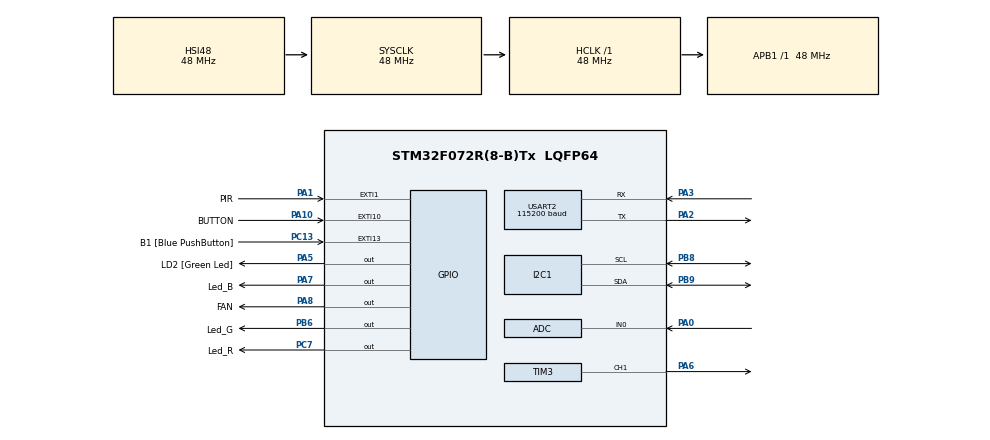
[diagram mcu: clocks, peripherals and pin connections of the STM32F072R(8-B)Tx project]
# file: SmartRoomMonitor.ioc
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ADC.SamplingTime=ADC_SAMPLETIME_239CYCLES_5
FREERTOS.Tasks01=BlinkTask,8,128,StartBlinkTask,Default,NULL,Dynamic,NULL,NULL;SensorTask,24,384,StartSensorTask,Default,NULL,Dynamic,NULL,NULL;AlertTask,24,128,StartAlertTask,Default,NULL,Dynamic,NULL,NULL;DisplayTask,16,512,StartDisplayTask,Default,NULL,Dynamic,NULL,NULL;MotionTask,32,256,StartMotionTask,Default,NULL,Dynamic,NULL,NULL
FREERTOS.configCHECK_FOR_STACK_OVERFLOW=2
FREERTOS.configTIMER_TASK_STACK_DEPTH=128
FREERTOS.configTOTAL_HEAP_SIZE=6144
FREERTOS.configUSE_NEWLIB_REENTRANT=1
I2C1.Timing=0x00201D2B
Mcu.Family=STM32F0
Mcu.Name=STM32F072R(8-B)Tx
Mcu.Package=LQFP64
NVIC.EXTI0_1_IRQn=true\:3\:0\:false\:false\:true\:true\:true\:true\:true
NVIC.EXTI4_15_IRQn=true\:3\:0\:false\:false\:true\:true\:true\:true\:true
NVIC.TIM6_DAC_IRQn=true\:3\:0\:false\:false\:true\:false\:false\:true\:true
NVIC.TimeBase=TIM6_DAC_IRQn
NVIC.TimeBaseIP=TIM6
PA0.Mode=IN0
PA0.Signal=ADC_IN0
PA1.GPIO_Label=PIR
PA1.GPIO_PuPd=GPIO_PULLDOWN
PA1.Signal=GPXTI1
PA10.GPIO_Label=BUTTON
PA10.GPIO_ModeDefaultEXTI=GPIO_MODE_IT_FALLING
PA10.GPIO_PuPd=GPIO_PULLUP
PA10.Signal=GPXTI10
PA13.GPIO_Label=TMS
PA13.Mode=Serial_Wire
PA13.Signal=SYS_SWDIO
PA14.GPIO_Label=TCK
PA14.Mode=Serial_Wire
PA14.Signal=SYS_SWCLK
PA2.Mode=Asynchronous
PA2.Signal=USART2_TX
PA3.Mode=Asynchronous
PA3.Signal=USART2_RX
PA5.GPIO_Label=LD2 [Green Led]
PA5.GPIO_Mode=GPIO_MODE_OUTPUT_PP
PA5.GPIO_PuPd=GPIO_NOPULL
PA5.GPIO_Speed=GPIO_SPEED_FREQ_LOW
PA5.Signal=GPIO_Output
PA6.Signal=S_TIM3_CH1
PA7.GPIO_Label=Led_B
PA7.Signal=GPIO_Output
PA8.GPIO_Label=FAN
PA8.Signal=GPIO_Output
PB6.GPIO_Label=Led_G
PB6.Signal=GPIO_Output
PB8.Mode=I2C
PB8.Signal=I2C1_SCL
PB9.Mode=I2C
PB9.Signal=I2C1_SDA
PC13.GPIO_Label=B1 [Blue PushButton]
PC13.GPIO_ModeDefaultEXTI=GPIO_MODE_IT_FALLING
PC13.Signal=GPXTI13
PC14-OSC32_IN.Mode=LSE-External-Oscillator
PC14-OSC32_IN.Signal=RCC_OSC32_IN
PC15-OSC32_OUT.Mode=LSE-External-Oscillator
PC15-OSC32_OUT.Signal=RCC_OSC32_OUT
PC7.GPIO_Label=Led_R
PC7.Signal=GPIO_Output
PF0-OSC_IN.Mode=HSE-External-Clock-Source
PF0-OSC_IN.Signal=RCC_OSC_IN
PF1-OSC_OUT.Signal=RCC_OSC_OUT
ProjectManager.HeapSize=0x200
ProjectManager.StackSize=0x400
ProjectManager.TargetToolchain=STM32CubeIDE
RCC.AHBFreq_Value=48000000
RCC.APB1Freq_Value=48000000
RCC.APB1TimFreq_Value=48000000
RCC.FLatency-AdvancedSettings=FLASH_LATENCY_1
RCC.HCLKFreq_Value=48000000
RCC.PLLDivider=RCC_PREDIV_DIV2
RCC.PLLMUL=RCC_PLL_MUL12
RCC.PREFETCH_ENABLE-AdvancedSettings=1
RCC.SYSCLKFreq_VALUE=48000000
RCC.SYSCLKSource=RCC_SYSCLKSOURCE_HSI48
SH.S_TIM3_CH1.0=TIM3_CH1,PWM Generation1 CH1
TIM3.Channel-PWM\ Generation1\ CH1=TIM_CHANNEL_1
TIM3.Period=499
TIM3.Prescaler=47
TIM3.Pulse-PWM\ Generation1\ CH1=250
USART2.BaudRate=115200
USART2.VirtualMode-Asynchronous=VM_ASYNC
VP_FREERTOS_VS_CMSIS_V2.Mode=CMSIS_V2
VP_SYS_VS_tim6.Mode=TIM6
board=NUCLEO-F072RB

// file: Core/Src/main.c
/* USER CODE BEGIN Header */
/**
  ******************************************************************************
  * @file           : main.c
  * @brief          : Main program body
  ******************************************************************************
  * @attention
  *
  * Copyright (c) 2026 STMicroelectronics.
  * All rights reserved.
  *
  * This software is licensed under terms that can be found in the LICENSE file
  * in the root directory of this software component.
  * If no LICENSE file comes with this software, it is provided AS-IS.
  *
  ******************************************************************************
  */
/* USER CODE END Header */
#include "main.h"
#include "cmsis_os.h"

/* USER CODE BEGIN Includes */

#include <stdio.h>
#include "bme280.h"
#include "ssd1306.h"
#include "ssd1306_fonts.h"
#include "piezo_buzzer.h"
#include "pir.h"

/* USER CODE END Includes */

/* USER CODE BEGIN PTD */

typedef enum
{
  STATE_NORMAL = 0,
  STATE_WARNING,
  STATE_ALERT,
  STATE_SLEEP
} SystemState_t;

typedef struct
{
  int32_t  temperature;  /* 0.01 degC */
  uint32_t humidity;     /* 1/1024 %RH */
  uint16_t lux;
  uint16_t airRaw;       /* MQ-135, 0-4095 */
  uint8_t  bmeOk;
  uint8_t  lightOk;
  uint8_t  motion;       /* 1 = PIR currently detects motion */
  uint8_t  state;        /* SystemState_t at the time of this reading */
} SensorData_t;

/* USER CODE END PTD */

/* USER CODE BEGIN PD */

#define TEMP_ALERT_CENTI   2800   /* 28.00 C */
#define AIR_ALERT_RAW      2000   /* 2000 Pa */
#define TEMP_WARN_CENTI    2600   /* 26.00 C */
#define AIR_WARN_RAW       1500   /* MQ-135 ADC value, tune after testing */
#define AIR_ALERT_RAW      2000
#define SLEEP_TIMEOUT_MS   (5 * 60 * 1000)
#define BUTTON_DEBOUNCE_MS 200
#define NUM_SCREENS        2

#define LED_ON   GPIO_PIN_RESET
#define LED_OFF  GPIO_PIN_SET

/* USER CODE END PD */

ADC_HandleTypeDef hadc;

I2C_HandleTypeDef hi2c1;

TIM_HandleTypeDef htim3;

UART_HandleTypeDef huart2;

/* Definitions for BlinkTask */
osThreadId_t BlinkTaskHandle;
const osThreadAttr_t BlinkTask_attributes = {
  .name = "BlinkTask",
  .stack_size = 128 * 4,
  .priority = (osPriority_t) osPriorityLow,
};
/* Definitions for SensorTask */
osThreadId_t SensorTaskHandle;
const osThreadAttr_t SensorTask_attributes = {
  .name = "SensorTask",
  .stack_size = 384 * 4,
  .priority = (osPriority_t) osPriorityNormal,
};
/* Definitions for AlertTask */
osThreadId_t AlertTaskHandle;
const osThreadAttr_t AlertTask_attributes = {
  .name = "AlertTask",
  .stack_size = 128 * 4,
  .priority = (osPriority_t) osPriorityNormal,
};
/* Definitions for DisplayTask */
osThreadId_t DisplayTaskHandle;
const osThreadAttr_t DisplayTask_attributes = {
  .name = "DisplayTask",
  .stack_size = 512 * 4,
  .priority = (osPriority_t) osPriorityBelowNormal,
};
/* Definitions for MotionTask */
osThreadId_t MotionTaskHandle;
const osThreadAttr_t MotionTask_attributes = {
  .name = "MotionTask",
  .stack_size = 256 * 4,
  .priority = (osPriority_t) osPriorityAboveNormal,
};
/* USER CODE BEGIN PV */

osMutexId_t i2cMutex;
osMessageQueueId_t sensorQueue;
osSemaphoreId_t alertSem;
osSemaphoreId_t motionSem;
volatile uint32_t lastMotionTick = 0;
volatile SystemState_t sysState = STATE_NORMAL;
volatile uint8_t screenIndex = 0;
volatile uint8_t alarmSilenced = 0;

/* USER CODE END PV */

void SystemClock_Config(void);
static void MX_GPIO_Init(void);
static void MX_USART2_UART_Init(void);
static void MX_I2C1_Init(void);
static void MX_TIM3_Init(void);
static void MX_ADC_Init(void);
void StartBlinkTask(void *argument);
void StartSensorTask(void *argument);
void StartAlertTask(void *argument);
void StartDisplayTask(void *argument);
void StartMotionTask(void *argument);

/* USER CODE BEGIN 0 */

int __io_putchar(int ch)
{
    HAL_UART_Transmit(&huart2, (uint8_t *)&ch, 1, HAL_MAX_DELAY);
    return ch;
}

static uint8_t bme_addr = BME280_I2C_ADDR_PRIM;   /* 0x76 */

BME280_INTF_RET_TYPE bme_i2c_read(uint8_t reg, uint8_t *data,
                                  uint32_t len, void *intf_ptr)
{
  uint8_t addr = *(uint8_t *)intf_ptr;
  if (HAL_I2C_Mem_Read(&hi2c1, addr << 1, reg, I2C_MEMADD_SIZE_8BIT,
                       data, (uint16_t)len, 100) == HAL_OK)
    return BME280_INTF_RET_SUCCESS;
  return -1;
}

BME280_INTF_RET_TYPE bme_i2c_write(uint8_t reg, const uint8_t *data,
                                   uint32_t len, void *intf_ptr)
{
  uint8_t addr = *(uint8_t *)intf_ptr;
  if (HAL_I2C_Mem_Write(&hi2c1, addr << 1, reg, I2C_MEMADD_SIZE_8BIT,
                        (uint8_t *)data, (uint16_t)len, 100) == HAL_OK)
    return BME280_INTF_RET_SUCCESS;
  return -1;
}

void bme_delay_us(uint32_t period, void *intf_ptr)
{
  osDelay((period / 1000) + 1);   /* round up to whole ms */
}

/* Frees a stuck I2C bus and restarts the I2C1 peripheral */
static void i2c_bus_recover(void)
{
  GPIO_InitTypeDef g = {0};

  HAL_I2C_DeInit(&hi2c1);

  /* Temporarily drive SCL (PB8) and SDA (PB9) as plain open-drain pins */
  g.Pin = GPIO_PIN_8 | GPIO_PIN_9;
  g.Mode = GPIO_MODE_OUTPUT_OD;
  g.Pull = GPIO_NOPULL;
  g.Speed = GPIO_SPEED_FREQ_HIGH;
  HAL_GPIO_Init(GPIOB, &g);
  HAL_GPIO_WritePin(GPIOB, GPIO_PIN_9, GPIO_PIN_SET);   /* release SDA */

  /* Pulse SCL 9 times so any device holding SDA low finishes its byte */
  for (int i = 0; i < 9; i++)
  {
    HAL_GPIO_WritePin(GPIOB, GPIO_PIN_8, GPIO_PIN_RESET);
    for (volatile int d = 0; d < 100; d++);
    HAL_GPIO_WritePin(GPIOB, GPIO_PIN_8, GPIO_PIN_SET);
    for (volatile int d = 0; d < 100; d++);
  }

  /* Send a STOP condition: SDA goes low -> high while SCL is high */
  HAL_GPIO_WritePin(GPIOB, GPIO_PIN_9, GPIO_PIN_RESET);
  for (volatile int d = 0; d < 100; d++);
  HAL_GPIO_WritePin(GPIOB, GPIO_PIN_9, GPIO_PIN_SET);

  MX_I2C1_Init();   /* switch the pins back to I2C and restart the peripheral */
}

/* Initializes the BME280 and starts continuous (normal mode) measurements */
static int8_t bme_setup(struct bme280_dev *dev)
{
  struct bme280_settings s;
  int8_t r = bme280_init(dev);
  if (r != BME280_OK) return r;

  bme280_get_sensor_settings(&s, dev);
  s.osr_t = BME280_OVERSAMPLING_1X;
  s.osr_h = BME280_OVERSAMPLING_1X;
  s.osr_p = BME280_OVERSAMPLING_1X;
  s.filter = BME280_FILTER_COEFF_OFF;
  s.standby_time = BME280_STANDBY_TIME_1000_MS;

  r = bme280_set_sensor_settings(BME280_SEL_ALL_SETTINGS, &s, dev);
  if (r != BME280_OK) return r;
  return bme280_set_sensor_mode(BME280_POWERMODE_NORMAL, dev);
}

static const char *const stateName[] = { "NORMAL", "WARNING", "ALERT", "SLEEP" };

/* Turns each color of the RGB LED on (1) or off (0) */
static void set_led(uint8_t r, uint8_t g, uint8_t b)
{
  HAL_GPIO_WritePin(Led_R_GPIO_Port, Led_R_Pin, r ? LED_ON : LED_OFF);
  HAL_GPIO_WritePin(Led_G_GPIO_Port, Led_G_Pin, g ? LED_ON : LED_OFF);
  HAL_GPIO_WritePin(Led_B_GPIO_Port, Led_B_Pin, b ? LED_ON : LED_OFF);
}

/* Sets the LED color and fan for a state */
static void apply_outputs(SystemState_t s)
{
  switch (s)
  {
    case STATE_NORMAL:  set_led(0, 1, 0); break;   /* green  */
    case STATE_WARNING: set_led(1, 1, 0); break;   /* yellow */
    case STATE_ALERT:   set_led(1, 0, 0); break;   /* red    */
    default:            set_led(0, 0, 0); break;   /* sleep: off */
  }

}

/* Picks the next state from the current state and a new reading */
static SystemState_t next_state(SystemState_t cur, const SensorData_t *r)
{
  uint8_t alert = (r->bmeOk && r->temperature > TEMP_ALERT_CENTI) ||
                  r->airRaw > AIR_ALERT_RAW;
  uint8_t warn  = (r->bmeOk && r->temperature > TEMP_WARN_CENTI) ||
                  r->airRaw > AIR_WARN_RAW;

  if (alert) return STATE_ALERT;
  /* Hysteresis: once in ALERT, stay there until readings drop below the
     WARNING level, so the fan and buzzer don't flicker on and off */
  if (cur == STATE_ALERT && warn) return STATE_ALERT;
  if (warn) return STATE_WARNING;
  return STATE_NORMAL;
}

/* USER CODE END 0 */

int main(void)
{

  /* MCU Configuration--------------------------------------------------------*/

  /* Reset of all peripherals, Initializes the Flash interface and the Systick. */
  HAL_Init();

  /* Configure the system clock */
  SystemClock_Config();

  /* Initialize all configured peripherals */
  MX_GPIO_Init();
  MX_USART2_UART_Init();
  MX_I2C1_Init();
  MX_TIM3_Init();
  MX_ADC_Init();
  /* USER CODE BEGIN 2 */

  HAL_ADCEx_Calibration_Start(&hadc);

  /* USER CODE END 2 */

  /* Init scheduler */
  osKernelInitialize();

  /* USER CODE BEGIN RTOS_MUTEX */
  /* add mutexes, ... */

  i2cMutex = osMutexNew(NULL);

  /* USER CODE END RTOS_MUTEX */

  /* USER CODE BEGIN RTOS_SEMAPHORES */
  /* add semaphores, ... */

  alertSem = osSemaphoreNew(1, 0, NULL);
  motionSem = osSemaphoreNew(1, 0, NULL);

  /* USER CODE END RTOS_SEMAPHORES */

  /* USER CODE BEGIN RTOS_QUEUES */
  /* add queues, ... */

  sensorQueue = osMessageQueueNew(4, sizeof(SensorData_t), NULL);

  /* USER CODE END RTOS_QUEUES */

  /* Create the thread(s) */
  /* creation of BlinkTask */
  BlinkTaskHandle = osThreadNew(StartBlinkTask, NULL, &BlinkTask_attributes);

  /* creation of SensorTask */
  SensorTaskHandle = osThreadNew(StartSensorTask, NULL, &SensorTask_attributes);

  /* creation of AlertTask */
  AlertTaskHandle = osThreadNew(StartAlertTask, NULL, &AlertTask_attributes);

  /* creation of DisplayTask */
  DisplayTaskHandle = osThreadNew(StartDisplayTask, NULL, &DisplayTask_attributes);

  /* creation of MotionTask */
  MotionTaskHandle = osThreadNew(StartMotionTask, NULL, &MotionTask_attributes);

  /* USER CODE BEGIN RTOS_THREADS */
  /* add threads, ... */

  if (SensorTaskHandle == NULL || DisplayTaskHandle == NULL || AlertTaskHandle == NULL)
  {
    printf("Task creation FAILED\r\n");
  }

  if (SensorTaskHandle == NULL || DisplayTaskHandle == NULL ||
      AlertTaskHandle == NULL || MotionTaskHandle == NULL)
  {
    printf("Task creation FAILED\r\n");
  }

  /* USER CODE END RTOS_THREADS */

  /* Start scheduler */
  osKernelStart();

  /* We should never get here as control is now taken by the scheduler */

  /* Infinite loop */
  while (1)
  {

  }
}

void SystemClock_Config(void)
{
  RCC_OscInitTypeDef RCC_OscInitStruct = {0};
  RCC_ClkInitTypeDef RCC_ClkInitStruct = {0};
  RCC_PeriphCLKInitTypeDef PeriphClkInit = {0};

  /** Initializes the RCC Oscillators according to the specified parameters
  * in the RCC_OscInitTypeDef structure.
  */
  RCC_OscInitStruct.OscillatorType = RCC_OSCILLATORTYPE_HSI|RCC_OSCILLATORTYPE_HSI14
                              |RCC_OSCILLATORTYPE_HSI48;
  RCC_OscInitStruct.HSIState = RCC_HSI_ON;
  RCC_OscInitStruct.HSI48State = RCC_HSI48_ON;
  RCC_OscInitStruct.HSI14State = RCC_HSI14_ON;
  RCC_OscInitStruct.HSICalibrationValue = RCC_HSICALIBRATION_DEFAULT;
  RCC_OscInitStruct.HSI14CalibrationValue = 16;
  RCC_OscInitStruct.PLL.PLLState = RCC_PLL_NONE;
  if (HAL_RCC_OscConfig(&RCC_OscInitStruct) != HAL_OK)
  {
    Error_Handler();
  }

  /** Initializes the CPU, AHB and APB buses clocks
  */
  RCC_ClkInitStruct.ClockType = RCC_CLOCKTYPE_HCLK|RCC_CLOCKTYPE_SYSCLK
                              |RCC_CLOCKTYPE_PCLK1;
  RCC_ClkInitStruct.SYSCLKSource = RCC_SYSCLKSOURCE_HSI48;
  RCC_ClkInitStruct.AHBCLKDivider = RCC_SYSCLK_DIV1;
  RCC_ClkInitStruct.APB1CLKDivider = RCC_HCLK_DIV1;

  if (HAL_RCC_ClockConfig(&RCC_ClkInitStruct, FLASH_LATENCY_1) != HAL_OK)
  {
    Error_Handler();
  }
  PeriphClkInit.PeriphClockSelection = RCC_PERIPHCLK_USART2|RCC_PERIPHCLK_I2C1;
  PeriphClkInit.Usart2ClockSelection = RCC_USART2CLKSOURCE_PCLK1;
  PeriphClkInit.I2c1ClockSelection = RCC_I2C1CLKSOURCE_HSI;
  if (HAL_RCCEx_PeriphCLKConfig(&PeriphClkInit) != HAL_OK)
  {
    Error_Handler();
  }
}

static void MX_ADC_Init(void)
{

  ADC_ChannelConfTypeDef sConfig = {0};

  /** Configure the global features of the ADC (Clock, Resolution, Data Alignment and number of conversion)
  */
  hadc.Instance = ADC1;
  hadc.Init.ClockPrescaler = ADC_CLOCK_ASYNC_DIV1;
  hadc.Init.Resolution = ADC_RESOLUTION_12B;
  hadc.Init.DataAlign = ADC_DATAALIGN_RIGHT;
  hadc.Init.ScanConvMode = ADC_SCAN_DIRECTION_FORWARD;
  hadc.Init.EOCSelection = ADC_EOC_SINGLE_CONV;
  hadc.Init.LowPowerAutoWait = DISABLE;
  hadc.Init.LowPowerAutoPowerOff = DISABLE;
  hadc.Init.ContinuousConvMode = DISABLE;
  hadc.Init.DiscontinuousConvMode = DISABLE;
  hadc.Init.ExternalTrigConv = ADC_SOFTWARE_START;
  hadc.Init.ExternalTrigConvEdge = ADC_EXTERNALTRIGCONVEDGE_NONE;
  hadc.Init.DMAContinuousRequests = DISABLE;
  hadc.Init.Overrun = ADC_OVR_DATA_PRESERVED;
  if (HAL_ADC_Init(&hadc) != HAL_OK)
  {
    Error_Handler();
  }

  /** Configure for the selected ADC regular channel to be converted.
  */
  sConfig.Channel = ADC_CHANNEL_0;
  sConfig.Rank = ADC_RANK_CHANNEL_NUMBER;
  sConfig.SamplingTime = ADC_SAMPLETIME_239CYCLES_5;
  if (HAL_ADC_ConfigChannel(&hadc, &sConfig) != HAL_OK)
  {
    Error_Handler();
  }

}

static void MX_I2C1_Init(void)
{

  hi2c1.Instance = I2C1;
  hi2c1.Init.Timing = 0x00201D2B;
  hi2c1.Init.OwnAddress1 = 0;
  hi2c1.Init.AddressingMode = I2C_ADDRESSINGMODE_7BIT;
  hi2c1.Init.DualAddressMode = I2C_DUALADDRESS_DISABLE;
  hi2c1.Init.OwnAddress2 = 0;
  hi2c1.Init.OwnAddress2Masks = I2C_OA2_NOMASK;
  hi2c1.Init.GeneralCallMode = I2C_GENERALCALL_DISABLE;
  hi2c1.Init.NoStretchMode = I2C_NOSTRETCH_DISABLE;
  if (HAL_I2C_Init(&hi2c1) != HAL_OK)
  {
    Error_Handler();
  }

  /** Configure Analogue filter
  */
  if (HAL_I2CEx_ConfigAnalogFilter(&hi2c1, I2C_ANALOGFILTER_ENABLE) != HAL_OK)
  {
    Error_Handler();
  }

  /** Configure Digital filter
  */
  if (HAL_I2CEx_ConfigDigitalFilter(&hi2c1, 0) != HAL_OK)
  {
    Error_Handler();
  }

}

static void MX_TIM3_Init(void)
{

  TIM_MasterConfigTypeDef sMasterConfig = {0};
  TIM_OC_InitTypeDef sConfigOC = {0};

  htim3.Instance = TIM3;
  htim3.Init.Prescaler = 47;
  htim3.Init.CounterMode = TIM_COUNTERMODE_UP;
  htim3.Init.Period = 499;
  htim3.Init.ClockDivision = TIM_CLOCKDIVISION_DIV1;
  htim3.Init.AutoReloadPreload = TIM_AUTORELOAD_PRELOAD_DISABLE;
  if (HAL_TIM_PWM_Init(&htim3) != HAL_OK)
  {
    Error_Handler();
  }
  sMasterConfig.MasterOutputTrigger = TIM_TRGO_RESET;
  sMasterConfig.MasterSlaveMode = TIM_MASTERSLAVEMODE_DISABLE;
  if (HAL_TIMEx_MasterConfigSynchronization(&htim3, &sMasterConfig) != HAL_OK)
  {
    Error_Handler();
  }
  sConfigOC.OCMode = TIM_OCMODE_PWM1;
  sConfigOC.Pulse = 250;
  sConfigOC.OCPolarity = TIM_OCPOLARITY_HIGH;
  sConfigOC.OCFastMode = TIM_OCFAST_DISABLE;
  if (HAL_TIM_PWM_ConfigChannel(&htim3, &sConfigOC, TIM_CHANNEL_1) != HAL_OK)
  {
    Error_Handler();
  }
  HAL_TIM_MspPostInit(&htim3);

}

static void MX_USART2_UART_Init(void)
{

  huart2.Instance = USART2;
  huart2.Init.BaudRate = 115200;
  huart2.Init.WordLength = UART_WORDLENGTH_8B;
  huart2.Init.StopBits = UART_STOPBITS_1;
  huart2.Init.Parity = UART_PARITY_NONE;
  huart2.Init.Mode = UART_MODE_TX_RX;
  huart2.Init.HwFlowCtl = UART_HWCONTROL_NONE;
  huart2.Init.OverSampling = UART_OVERSAMPLING_16;
  huart2.Init.OneBitSampling = UART_ONE_BIT_SAMPLE_DISABLE;
  huart2.AdvancedInit.AdvFeatureInit = UART_ADVFEATURE_NO_INIT;
  if (HAL_UART_Init(&huart2) != HAL_OK)
  {
    Error_Handler();
  }

}

static void MX_GPIO_Init(void)
{
  GPIO_InitTypeDef GPIO_InitStruct = {0};

  /* GPIO Ports Clock Enable */
  __HAL_RCC_GPIOC_CLK_ENABLE();
  __HAL_RCC_GPIOF_CLK_ENABLE();
  __HAL_RCC_GPIOA_CLK_ENABLE();
  __HAL_RCC_GPIOB_CLK_ENABLE();

  /*Configure GPIO pin Output Level */
  HAL_GPIO_WritePin(GPIOA, LD2_Pin|Led_B_Pin|FAN_Pin, GPIO_PIN_RESET);

  /*Configure GPIO pin Output Level */
  HAL_GPIO_WritePin(Led_R_GPIO_Port, Led_R_Pin, GPIO_PIN_RESET);

  /*Configure GPIO pin Output Level */
  HAL_GPIO_WritePin(Led_G_GPIO_Port, Led_G_Pin, GPIO_PIN_RESET);

  /*Configure GPIO pin : B1_Pin */
  GPIO_InitStruct.Pin = B1_Pin;
  GPIO_InitStruct.Mode = GPIO_MODE_IT_FALLING;
  GPIO_InitStruct.Pull = GPIO_NOPULL;
  HAL_GPIO_Init(B1_GPIO_Port, &GPIO_InitStruct);

  /*Configure GPIO pin : PIR_Pin */
  GPIO_InitStruct.Pin = PIR_Pin;
  GPIO_InitStruct.Mode = GPIO_MODE_IT_RISING;
  GPIO_InitStruct.Pull = GPIO_PULLDOWN;
  HAL_GPIO_Init(PIR_GPIO_Port, &GPIO_InitStruct);

  /*Configure GPIO pins : LD2_Pin Led_B_Pin FAN_Pin */
  GPIO_InitStruct.Pin = LD2_Pin|Led_B_Pin|FAN_Pin;
  GPIO_InitStruct.Mode = GPIO_MODE_OUTPUT_PP;
  GPIO_InitStruct.Pull = GPIO_NOPULL;
  GPIO_InitStruct.Speed = GPIO_SPEED_FREQ_LOW;
  HAL_GPIO_Init(GPIOA, &GPIO_InitStruct);

  /*Configure GPIO pin : Led_R_Pin */
  GPIO_InitStruct.Pin = Led_R_Pin;
  GPIO_InitStruct.Mode = GPIO_MODE_OUTPUT_PP;
  GPIO_InitStruct.Pull = GPIO_NOPULL;
  GPIO_InitStruct.Speed = GPIO_SPEED_FREQ_LOW;
  HAL_GPIO_Init(Led_R_GPIO_Port, &GPIO_InitStruct);

  /*Configure GPIO pin : BUTTON_Pin */
  GPIO_InitStruct.Pin = BUTTON_Pin;
  GPIO_InitStruct.Mode = GPIO_MODE_IT_FALLING;
  GPIO_InitStruct.Pull = GPIO_PULLUP;
  HAL_GPIO_Init(BUTTON_GPIO_Port, &GPIO_InitStruct);

  /*Configure GPIO pin : Led_G_Pin */
  GPIO_InitStruct.Pin = Led_G_Pin;
  GPIO_InitStruct.Mode = GPIO_MODE_OUTPUT_PP;
  GPIO_InitStruct.Pull = GPIO_NOPULL;
  GPIO_InitStruct.Speed = GPIO_SPEED_FREQ_LOW;
  HAL_GPIO_Init(Led_G_GPIO_Port, &GPIO_InitStruct);

  /* EXTI interrupt init*/
  HAL_NVIC_SetPriority(EXTI0_1_IRQn, 3, 0);
  HAL_NVIC_EnableIRQ(EXTI0_1_IRQn);

  HAL_NVIC_SetPriority(EXTI4_15_IRQn, 3, 0);
  HAL_NVIC_EnableIRQ(EXTI4_15_IRQn);

}

/* USER CODE BEGIN 4 */

/* Runs inside the EXTI interrupt. Keep it short: just signal the task. */
void HAL_GPIO_EXTI_Callback(uint16_t GPIO_Pin)
{
  if (GPIO_Pin == PIR_Pin)
  {
    if (motionSem != NULL)
      osSemaphoreRelease(motionSem);
  }
  else if (GPIO_Pin == BUTTON_Pin || GPIO_Pin == B1_Pin)
  {
    /* Debounce: ignore bounces within 200 ms of the last press */
    static uint32_t lastPress = 0;
    uint32_t now = HAL_GetTick();
    if (now - lastPress < BUTTON_DEBOUNCE_MS)
      return;
    lastPress = now;

    lastMotionTick = osKernelGetTickCount();   /* any press also wakes from Sleep */

    if (sysState == STATE_ALERT)
      alarmSilenced = 1;                        /* silence the buzzer */
    else
      screenIndex = (screenIndex + 1) % NUM_SCREENS;   /* next screen */
  }
}
/* USER CODE END 4 */

void StartBlinkTask(void *argument)
{
  /* USER CODE BEGIN 5 */
  /* Infinite loop */
  for(;;)
  {
    HAL_GPIO_TogglePin(LD2_GPIO_Port, LD2_Pin);
    osDelay(500);
  }
  /* USER CODE END 5 */
}

void StartSensorTask(void *argument)
{
  /* USER CODE BEGIN StartSensorTask */
  struct bme280_dev dev;
  struct bme280_data data;
  SensorData_t reading = {0};
  int8_t rslt;
  uint8_t cmd = 0x10;          /* BH1750 continuous high-resolution mode */
  uint8_t buf[2];
  uint8_t mode;                /* NEW: BME280 power mode read back each cycle */
  uint32_t nextWake;

  dev.intf = BME280_I2C_INTF;
  dev.intf_ptr = &bme_addr;
  dev.read = bme_i2c_read;
  dev.write = bme_i2c_write;
  dev.delay_us = bme_delay_us;

  /* Sensor setup uses I2C, so take the mutex */
  osMutexAcquire(i2cMutex, osWaitForever);
  rslt = bme_setup(&dev);      /* NEW: all BME280 setup is now in one helper */
  HAL_I2C_Master_Transmit(&hi2c1, 0x23 << 1, &cmd, 1, 100);
  osMutexRelease(i2cMutex);

  printf("\r\nSensorTask started, bme280 setup: %d\r\n", rslt);
  osDelay(180);

  apply_outputs(sysState);

  nextWake = osKernelGetTickCount();

  /* Infinite loop */
  for(;;)
  {
    osMutexAcquire(i2cMutex, osWaitForever);

    /* NEW: if the BME280 reset (e.g. a power glitch), it falls back to
       sleep mode and stops measuring. Detect that and restart it. */
    if (bme280_get_sensor_mode(&mode, &dev) != BME280_OK ||
        mode != BME280_POWERMODE_NORMAL)
    {
      rslt = bme_setup(&dev);
      if (rslt != BME280_OK)
      {
        /* The bus may be stuck after the glitch: reset I2C and try again */
        i2c_bus_recover();
        rslt = bme_setup(&dev);
      }
      /* A glitch likely reset the BH1750 too, so resend its mode command */
      HAL_I2C_Master_Transmit(&hi2c1, 0x23 << 1, &cmd, 1, 100);
      printf("BME280 recovered (setup result %d)\r\n", rslt);
      reading.bmeOk = 0;       /* data is stale this cycle, skip it */
    }
    else
    {
      reading.bmeOk = (bme280_get_sensor_data(BME280_ALL, &data, &dev) == BME280_OK);
    }

    reading.lightOk = (HAL_I2C_Master_Receive(&hi2c1, 0x23 << 1, buf, 2, 100) == HAL_OK);
    osMutexRelease(i2cMutex);

    /* MQ-135 on the ADC (not I2C, so no mutex needed) */
    HAL_ADC_Start(&hadc);
    if (HAL_ADC_PollForConversion(&hadc, 10) == HAL_OK)
      reading.airRaw = (uint16_t)HAL_ADC_GetValue(&hadc);
    else
      reading.airRaw = 0;
    HAL_ADC_Stop(&hadc);

    reading.temperature = data.temperature;
    reading.humidity = data.humidity;
    reading.lux = reading.lightOk ? (uint16_t)(((buf[0] << 8) | buf[1]) * 10 / 12) : 0;
    reading.motion = readPIR(); /*Read the data from PIR motion sensor (0 = NOT DETECTED / 1 = DETECTED */

    SystemState_t next = next_state(sysState, &reading);

    /* Sleep when nothing is wrong and nobody has moved for a while */
    if (next == STATE_NORMAL &&
        (osKernelGetTickCount() - lastMotionTick) > SLEEP_TIMEOUT_MS)
    {
      next = STATE_SLEEP;
    }

    if (next != sysState)
    {
      printf("State: %s -> %s\r\n", stateName[sysState], stateName[next]);
      sysState = next;
      apply_outputs(sysState);
    }

    if (sysState != STATE_ALERT)
      alarmSilenced = 0;   /* re-arm the alarm once the alert clears */

    /* Send the reading (with the current state) to DisplayTask */
    reading.state = sysState;
    osMessageQueuePut(sensorQueue, &reading, 0, 0);

    /* Wake AlertTask to beep, unless the user silenced it */
    if (sysState == STATE_ALERT && !alarmSilenced)
    {
      osSemaphoreRelease(alertSem);
    }

    /* Periodic: run exactly every 1000 ms */
    nextWake += 1000;
    osDelayUntil(nextWake);
  }
  /* USER CODE END StartSensorTask */
}

void StartAlertTask(void *argument)
{
  /* USER CODE BEGIN StartAlertTask */
  /* Infinite loop */
  for(;;)
  {

    osSemaphoreAcquire(alertSem, osWaitForever);

    /* Three short beeps */
    for (int i = 0; i < 3; i++)
    {
      piezo_active();
      osDelay(150);
      piezo_inactive();
      osDelay(150);
    }
  }
  /* USER CODE END StartAlertTask */
}

void StartDisplayTask(void *argument)
{
  /* USER CODE BEGIN StartDisplayTask */
  SensorData_t r;
  char line[32];
  uint8_t displayOn = 1;

  osMutexAcquire(i2cMutex, osWaitForever);
  ssd1306_Init();
  ssd1306_Fill(Black);
  ssd1306_SetCursor(0, 0);
  ssd1306_WriteString("Smart Room", Font_11x18, White);
  ssd1306_UpdateScreen();
  osMutexRelease(i2cMutex);

  /* Infinite loop */
  for(;;)
  {
    /* Sleep until SensorTask sends a reading */
    if (osMessageQueueGet(sensorQueue, &r, NULL, osWaitForever) != osOK)
      continue;

    /* ---- Sleep: turn the screen off and skip drawing ---- */
    if (r.state == STATE_SLEEP)
    {
      if (displayOn)
      {
        osMutexAcquire(i2cMutex, osWaitForever);
        ssd1306_SetDisplayOn(0);
        osMutexRelease(i2cMutex);
        displayOn = 0;
      }
      continue;
    }
    if (!displayOn)
    {
      osMutexAcquire(i2cMutex, osWaitForever);
      ssd1306_SetDisplayOn(1);
      osMutexRelease(i2cMutex);
      displayOn = 1;
    }

    /* ---- Serial output (every reading) ---- */
    int32_t  tFrac = r.temperature % 100;
    uint32_t h = r.humidity * 100 / 1024;
    if (tFrac < 0) tFrac = -tFrac;

    if (r.bmeOk)
      printf("[%s] Temp: %ld.%02ld C  Hum: %lu.%02lu %%  ",
             stateName[r.state], r.temperature / 100, tFrac, h / 100, h % 100);
    else

    	printf("[%s] BME280 read failed  ", stateName[r.state]);
    	printf("Light: %u lux  Air: %u  PIR: %u\r\n", r.lux, r.airRaw, r.motion);

    /* ---- Draw the selected screen into the RAM buffer ---- */
        ssd1306_Fill(Black);
        ssd1306_SetCursor(0, 0);
        if (screenIndex == 0)
        {
          /* Main screen: title shows the PIR state */
          ssd1306_WriteString(r.motion ? "Motion!" : "No Motion", Font_11x18, White);
        }
        else
        {
          /* Status screen keeps the project name */
          ssd1306_WriteString("Smart Room", Font_11x18, White);
        }

    if (screenIndex == 0)
    {
      /* Screen 1: sensor readings */
      if (r.bmeOk)
      {
        snprintf(line, sizeof(line), "Temp: %ld.%02ld C", r.temperature / 100, tFrac);
        ssd1306_SetCursor(0, 22);
        ssd1306_WriteString(line, Font_7x10, White);

        snprintf(line, sizeof(line), "Hum:  %lu.%02lu %%", h / 100, h % 100);
        ssd1306_SetCursor(0, 32);
        ssd1306_WriteString(line, Font_7x10, White);
      }
      snprintf(line, sizeof(line), "Light: %u lux", r.lux);
      ssd1306_SetCursor(0, 42);
      ssd1306_WriteString(line, Font_7x10, White);

      snprintf(line, sizeof(line), "Air:   %u", r.airRaw);
      ssd1306_SetCursor(0, 52);
      ssd1306_WriteString(line, Font_7x10, White);
    }
    else
    {
      /* Screen 2: system status */
      snprintf(line, sizeof(line), "State: %s", stateName[r.state]);
      ssd1306_SetCursor(0, 22);
      ssd1306_WriteString(line, Font_7x10, White);

      snprintf(line, sizeof(line), "Fan:   %s", (r.state == STATE_ALERT) ? "ON" : "OFF");
      ssd1306_SetCursor(0, 32);
      ssd1306_WriteString(line, Font_7x10, White);

      snprintf(line, sizeof(line), "Alarm: %s", alarmSilenced ? "silenced" : "armed");
      ssd1306_SetCursor(0, 42);
      ssd1306_WriteString(line, Font_7x10, White);

      snprintf(line, sizeof(line), "Motion: %lus ago",
               (osKernelGetTickCount() - lastMotionTick) / 1000);
      ssd1306_SetCursor(0, 52);
      ssd1306_WriteString(line, Font_7x10, White);
    }

    /* Only the screen update uses I2C, so only lock around it */
    osMutexAcquire(i2cMutex, osWaitForever);
    ssd1306_UpdateScreen();
    osMutexRelease(i2cMutex);
  }
  /* USER CODE END StartDisplayTask */
}

void StartMotionTask(void *argument)
{
  /* USER CODE BEGIN StartMotionTask */
  uint32_t count = 0;
  uint32_t start;

  for(;;)
  {
    osSemaphoreAcquire(motionSem, osWaitForever);

    count++;
    start = osKernelGetTickCount();
    lastMotionTick = start;
    printf("Motion started (#%lu)\r\n", count);

    while (readPIR() == 1)
    {
      lastMotionTick = osKernelGetTickCount();
      osDelay(100);
    }

    printf("Motion ended after %lu ms\r\n", osKernelGetTickCount() - start);

    osSemaphoreAcquire(motionSem, 0);
  }
  /* USER CODE END StartMotionTask */
}

void HAL_TIM_PeriodElapsedCallback(TIM_HandleTypeDef *htim)
{
  if (htim->Instance == TIM6)
  {
    HAL_IncTick();
  }
}

void Error_Handler(void)
{
  __disable_irq();
  while (1)
  {
  }
}
